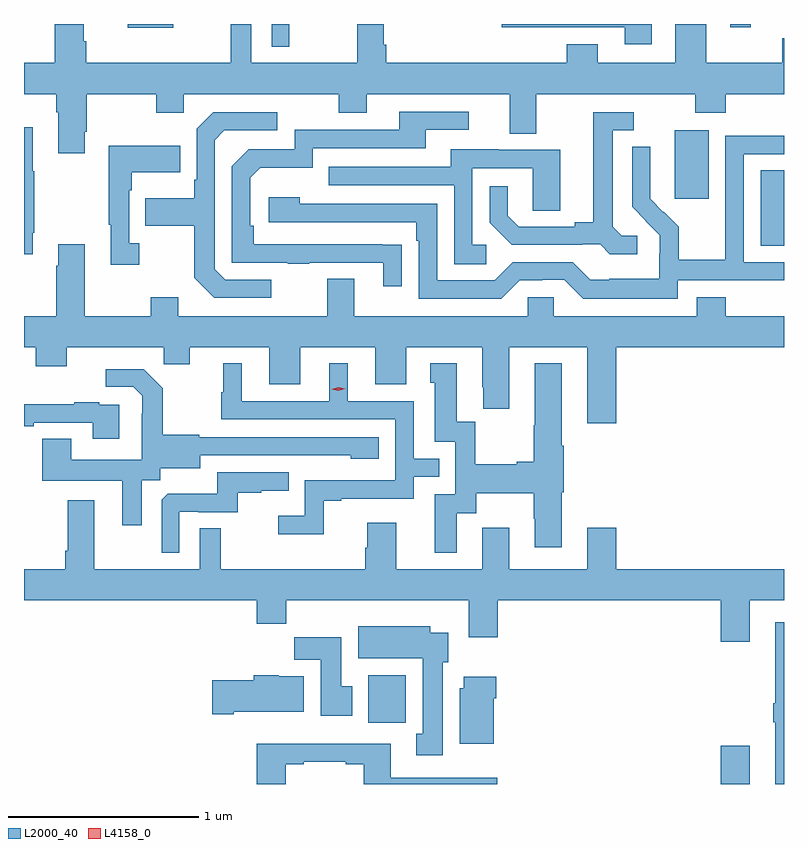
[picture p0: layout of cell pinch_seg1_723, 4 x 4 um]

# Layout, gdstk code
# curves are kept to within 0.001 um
import gdstk
lib = gdstk.Library(unit=1e-6, precision=1e-09)
def R(c, l, rs):  # rectangles x0, y0, x1, y1
    for r in rs: c.add(gdstk.rectangle(r[:2], r[2:], *l))
def P(c, l, *ps):  # polygons
    for p in ps: c.add(gdstk.Polygon(p, *l))
L2000_40 = (2000, 40)
L4158_0 = (4158, 0)

pinch_seg1_723 = lib.new_cell('pinch_seg1_723')
R(pinch_seg1_723, L2000_40, [(672.857,525.457,673.009,525.658), (671.003,525.78,671.199,526.03), (673.067,528.289,673.19,528.686), (672.614,528.537,672.793,528.898), (670.494,529.337,670.587,529.457), (669.736,529.436,669.976,529.457), (672.906,529.44,673.015,529.457)])
P(pinch_seg1_723, L2000_40, [(670.993,529.088),(671.747,529.088),(671.747,528.88),(671.887,528.88),(671.887,529.088),(672.724,529.088),(672.724,528.989),(672.884,528.989),(672.884,529.088),(673.19,529.088),(673.19,529.381),(673.181,529.381),(673.181,529.252),(672.781,529.252),(672.781,529.457),(672.617,529.457),(672.617,529.252),(672.211,529.252),(672.211,529.351),(672.047,529.351),(672.047,529.252),(671.096,529.252),(671.096,529.348),(671.083,529.348),(671.083,529.457),(670.943,529.457),(670.943,529.252),(670.386,529.252),(670.386,529.457),(670.278,529.457),(670.278,529.252),(669.518,529.252),(669.518,529.365),(669.505,529.365),(669.505,529.457),(669.353,529.457),(669.353,529.252),(669.19,529.252),(669.19,529.088),(669.359,529.088),(669.359,528.992),(669.371,528.992),(669.371,528.777),(669.511,528.777),(669.511,528.889),(669.519,528.889),(669.519,529.088),(669.886,529.088),(669.886,528.989),(670.032,528.989),(670.032,529.088),(670.846,529.088),(670.846,528.989),(670.993,528.989)],
  [(672.493,529.457),(671.705,529.457),(671.705,529.439),(671.923,529.439),(671.923,529.44),(672.353,529.44),(672.353,529.35),(672.493,529.35)],
  [(671.177,528.296),(670.4,528.297),(670.4,528.394),(670.38,528.394),(670.38,528.648),(670.433,528.701),(670.71,528.701),(670.71,528.804),(671.305,528.804),(671.305,528.9),(671.53,528.9),(671.53,528.996),(671.165,528.996),(671.165,528.9),(670.614,528.9),(670.614,528.798),(670.374,528.798),(670.284,528.708),(670.284,528.201),(670.579,528.201),(670.579,528.196),(670.691,528.196),(670.691,528.201),(671.081,528.201),(671.081,528.078),(671.177,528.078)],
  [(672.418,528.342),(672.336,528.342),(672.289,528.389),(672.289,528.897),(672.4,528.897),(672.4,528.993),(672.185,528.993),(672.185,528.413),(672.089,528.413),(672.089,528.39),(671.794,528.39),(671.737,528.447),(671.737,528.604),(671.64,528.604),(671.64,528.41),(671.756,528.294),(672.128,528.294),(672.128,528.297),(672.222,528.297),(672.274,528.245),(672.418,528.245)],
  [(670.492,528.111),(670.248,528.111),(670.194,528.165),(670.194,528.846),(670.245,528.897),(670.522,528.897),(670.522,528.993),(670.185,528.993),(670.098,528.906),(670.098,528.637),(670.086,528.637),(670.086,528.541),(669.829,528.541),(669.829,528.394),(670.086,528.394),(670.086,528.121),(670.191,528.015),(670.492,528.015)],
  [(669.235,528.358),(669.243,528.358),(669.243,528.681),(669.235,528.681),(669.235,528.913),(669.19,528.913),(669.19,528.246),(669.235,528.246)],
  [(672.63,528.108),(673.19,528.108),(673.19,528.204),(672.978,528.204),(672.978,528.771),(673.19,528.771),(673.19,528.87),(672.882,528.87),(672.882,528.44),(672.88,528.44),(672.88,528.217),(672.635,528.217),(672.635,528.391),(672.558,528.468),(672.555,528.465),(672.485,528.536),(672.486,528.812),(672.39,528.812),(672.39,528.494),(672.536,528.346),(672.536,528.249),(672.534,528.249),(672.534,528.115),(672.271,528.115),(672.271,528.111),(672.171,528.111),(672.078,528.204),(671.763,528.204),(671.667,528.108),(671.364,528.108),(671.364,528.51),(670.64,528.51),(670.64,528.544),(670.479,528.544),(670.479,528.414),(671.255,528.414),(671.255,528.317),(671.268,528.317),(671.268,528.012),(671.703,528.012),(671.799,528.108),(671.918,528.108),(671.918,528.111),(672.033,528.111),(672.133,528.011),(672.63,528.011)],
  [(669.796,528.302),(669.744,528.302),(669.744,528.581),(669.757,528.581),(669.757,528.677),(670.013,528.677),(670.013,528.817),(669.636,528.817),(669.636,528.401),(669.647,528.401),(669.647,528.189),(669.796,528.189)],
  [(671.623,528.294),(671.55,528.294),(671.55,528.699),(671.868,528.699),(671.868,528.475),(672.013,528.475),(672.013,528.795),(671.689,528.795),(671.689,528.799),(671.435,528.799),(671.435,528.705),(670.795,528.705),(670.795,528.609),(671.454,528.609),(671.454,528.193),(671.623,528.193)],
  [(672.308,527.756),(673.19,527.756),(673.19,527.92),(672.884,527.92),(672.884,528.019),(672.731,528.019),(672.731,527.92),(671.979,527.92),(671.979,528.018),(671.841,528.018),(671.841,527.92),(670.927,527.92),(670.927,528.115),(670.787,528.115),(670.787,527.92),(670.003,527.92),(670.003,528.019),(669.856,528.019),(669.856,527.92),(669.511,527.92),(669.511,528.298),(669.371,528.298),(669.371,528.185),(669.359,528.185),(669.359,527.92),(669.19,527.92),(669.19,527.756),(669.251,527.756),(669.251,527.657),(669.415,527.657),(669.415,527.756),(669.925,527.756),(669.925,527.666),(670.063,527.666),(670.063,527.756),(670.481,527.756),(670.481,527.562),(670.645,527.562),(670.645,527.756),(671.039,527.756),(671.039,527.562),(671.203,527.562),(671.203,527.756),(671.603,527.756),(671.603,527.545),(671.606,527.545),(671.606,527.433),(671.743,527.433),(671.743,527.756),(672.155,527.756),(672.155,527.355),(672.308,527.355)],
  [(671.467,526.882),(671.569,526.882),(671.569,526.988),(671.872,526.988),(671.872,526.854),(671.879,526.854),(671.879,526.704),(672.019,526.704),(672.019,526.992),(672.032,526.992),(672.032,527.236),(672.019,527.236),(672.019,527.671),(671.879,527.671),(671.879,527.345),(671.872,527.345),(671.872,527.153),(671.783,527.153),(671.783,527.14),(671.565,527.14),(671.565,527.363),(671.467,527.363),(671.467,527.671),(671.327,527.671),(671.327,527.568),(671.351,527.568),(671.351,527.259),(671.46,527.259),(671.46,526.983),(671.351,526.983),(671.351,526.674),(671.467,526.674)],
  [(670.767,526.947),(670.861,526.947),(670.861,526.959),(671.241,526.959),(671.241,527.073),(671.375,527.073),(671.375,527.169),(671.241,527.169),(671.241,527.472),(670.894,527.472),(670.894,527.671),(670.796,527.671),(670.796,527.472),(670.336,527.472),(670.336,527.671),(670.238,527.671),(670.238,527.52),(670.227,527.52),(670.227,527.376),(671.145,527.376),(671.145,527.055),(670.668,527.055),(670.668,526.87),(670.527,526.87),(670.527,526.772),(670.767,526.772)],
  [(669.811,527.056),(669.906,527.056),(669.906,527.12),(670.117,527.12),(670.117,527.187),(670.911,527.186),(670.911,527.168),(671.056,527.168),(671.056,527.283),(670.113,527.283),(670.113,527.296),(669.921,527.296),(669.921,527.541),(669.821,527.641),(669.621,527.641),(669.621,527.547),(669.765,527.547),(669.812,527.5),(669.812,527.405),(669.81,527.405),(669.81,527.164),(669.439,527.164),(669.439,527.273),(669.287,527.273),(669.287,527.054),(669.707,527.054),(669.707,526.818),(669.811,526.818)],
  [(669.691,527.454),(669.587,527.454),(669.587,527.467),(669.455,527.467),(669.455,527.456),(669.19,527.456),(669.19,527.34),(669.241,527.34),(669.241,527.358),(669.551,527.358),(669.551,527.274),(669.691,527.274)],
  [(670.008,526.89),(670.108,526.89),(670.108,526.887),(670.316,526.887),(670.316,526.989),(670.439,526.989),(670.439,527),(670.583,527),(670.583,527.097),(670.206,527.097),(670.206,526.985),(669.947,526.985),(669.915,526.953),(669.915,526.673),(670.008,526.673)],
  [(673.009,526.424),(673.19,526.424),(673.19,526.588),(672.308,526.588),(672.308,526.807),(672.155,526.807),(672.155,526.588),(671.743,526.588),(671.743,526.807),(671.603,526.807),(671.603,526.588),(671.149,526.588),(671.149,526.831),(670.997,526.831),(670.997,526.701),(670.985,526.701),(670.985,526.588),(670.225,526.588),(670.225,526.802),(670.116,526.802),(670.116,526.588),(669.559,526.588),(669.559,526.951),(669.419,526.951),(669.419,526.684),(669.407,526.684),(669.407,526.588),(669.19,526.588),(669.19,526.424),(670.415,526.424),(670.415,526.3),(670.571,526.3),(670.571,526.424),(671.531,526.424),(671.531,526.23),(671.684,526.23),(671.684,526.424),(672.857,526.424),(672.857,526.206),(673.009,526.206)],
  [(673.19,526.309),(673.145,526.309),(673.145,525.883),(673.133,525.883),(673.133,525.783),(673.145,525.783),(673.145,525.457),(673.19,525.457)],
  [(671.395,526.098),(671.422,526.098),(671.422,526.252),(671.329,526.252),(671.329,526.288),(670.949,526.288),(670.949,526.118),(671.288,526.118),(671.288,525.721),(671.255,525.721),(671.255,525.609),(671.395,525.609)],
  [(670.918,525.972),(670.861,525.972),(670.861,526.23),(670.612,526.23),(670.612,526.112),(670.751,526.112),(670.751,525.816),(670.918,525.816)],
  [(670.294,525.836),(670.663,525.836),(670.663,526.024),(670.53,526.024),(670.53,526.03),(670.4,526.03),(670.4,526.002),(670.182,526.002),(670.182,525.824),(670.294,525.824)],
  [(671.662,525.908),(671.675,525.908),(671.675,526.021),(671.504,526.021),(671.504,525.96),(671.483,525.96),(671.483,525.668),(671.662,525.668)],
  [(670.567,525.561),(670.663,525.561),(670.663,525.573),(670.883,525.573),(670.883,525.561),(670.979,525.561),(670.979,525.457),(671.68,525.457),(671.68,525.489),(671.119,525.489),(671.119,525.67),(670.415,525.67),(670.415,525.457),(670.567,525.457)])
P(pinch_seg1_723, L4158_0, [(670.845,527.526),(670.809,527.534),(670.809,527.535),(670.809,527.535),(670.845,527.546),(670.881,527.537),(670.881,527.537),(670.881,527.537)])

lib.write_gds('pinch_seg1_723.gds')
